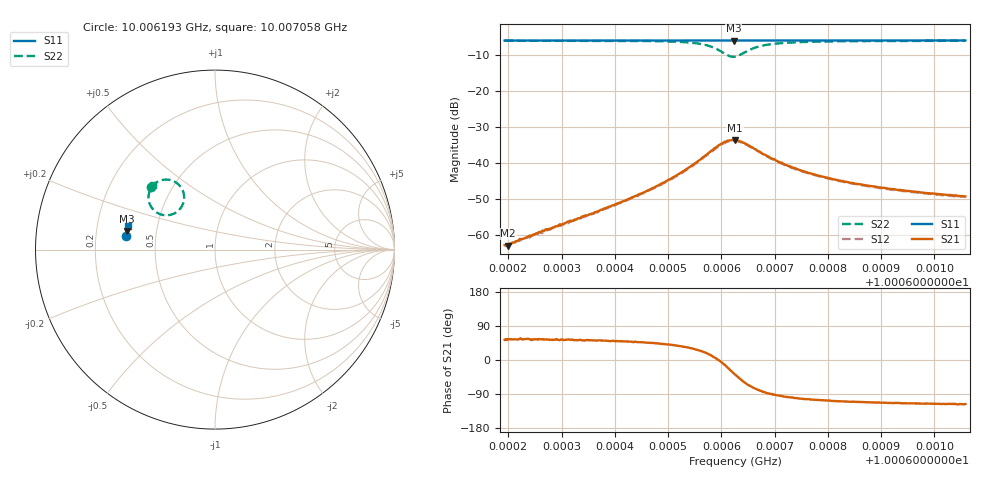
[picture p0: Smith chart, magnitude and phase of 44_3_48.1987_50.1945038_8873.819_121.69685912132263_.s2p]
#  HZ  S  RI  R  50.00
! Rohde & Schwarz Vector Network Analyzer
! Rohde-Schwarz,ZNB20-2Port,1311601062101988,3.16
! Created: UTC 3/20/2024, 11:38:00 AM
! freq[Hz]  re:S11  im:S11  re:S21  im:S21  re:S12  im:S12  re:S22  im:S22
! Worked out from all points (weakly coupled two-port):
!   401 points, 10.006193 GHz to 10.007058 GHz, reference 50 ohm
!   highest |S21| = -33.60 dB at 10.006626 GHz (marker M1); lowest = -62.9 dB at 10.0062 GHz (marker M2)
!   lowest |S11| = -6.0 dB at 10.006623 GHz (marker M3), VSWR 3.00, Z = 16.8 + j4.56 ohm
!   |S11| at or under -10 dB: nowhere
!   |S22| runs from -10.5 to -6.0 dB; largest |S21 - S12| = 0.0014
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1.00061931e10  -0.4963 0.0748  0.000433 0.000581  0.00038 0.000588  -0.3552 0.3511
1.00061996e10  -0.4963 0.0754  0.000406 0.000589  0.00038 0.000627  -0.3546 0.3518
1.00062688e10  -0.4956 0.0797  0.000681 0.000957  0.000613 0.000959  -0.3486 0.3576
1.0006338e10  -0.4951 0.0844  0.00111 0.00143  0.000979 0.00144  -0.3406 0.3646
1.0006418e10  -0.4942 0.0894  0.00196 0.00225  0.00181 0.00233  -0.3267 0.3744
1.00064829e10  -0.4935 0.0939  0.0036 0.00339  0.00334 0.00347  -0.3057 0.3843
1.00065261e10  -0.4928 0.0968  0.00611 0.00438  0.0057 0.00451  -0.278 0.39
1.00065715e10  -0.4916 0.0999  0.0123 0.0041  0.0118 0.00451  -0.2182 0.3747
1.00065866e10  -0.491 0.1005  0.0158 0.00198  0.0152 0.00273  -0.1908 0.3486
1.00066018e10  -0.4905 0.1012  0.0187 -0.0025  0.0182 -0.00152  -0.1723 0.3
1.00066147e10  -0.4902 0.1016  0.0188 -0.00828  0.0187 -0.00716  -0.1826 0.2457
1.00066234e10  -0.4901 0.1016  0.0169 -0.0121  0.0171 -0.0108  -0.207 0.2145
1.00066256e10  -0.4901 0.1016  0.0164 -0.0129  0.0167 -0.0116  -0.2149 0.2086
1.00066429e10  -0.4906 0.1023  0.00989 -0.0162  0.0104 -0.0153  -0.2827 0.1917
1.0006658e10  -0.491 0.1032  0.00517 -0.0156  0.00585 -0.0151  -0.3264 0.2078
1.00066753e10  -0.4912 0.1043  0.00194 -0.0137  0.00246 -0.0134  -0.353 0.2342
1.00067229e10  -0.4909 0.1078  -0.00121 -0.00922  -0.000718 -0.00914  -0.3704 0.286
1.00067704e10  -0.4906 0.1109  -0.00178 -0.00684  -0.00143 -0.00678  -0.3682 0.3124
1.00068418e10  -0.4897 0.1156  -0.00184 -0.00497  -0.00155 -0.00502  -0.3612 0.3332
1.00069153e10  -0.4887 0.1205  -0.00172 -0.00402  -0.00152 -0.00404  -0.3544 0.3457
1.00069996e10  -0.4875 0.1259  -0.00161 -0.00338  -0.00142 -0.00337  -0.348 0.3555
1.0007058e10  -0.4866 0.1296  -0.00151 -0.00308  -0.00139 -0.00306  -0.3439 0.3608
